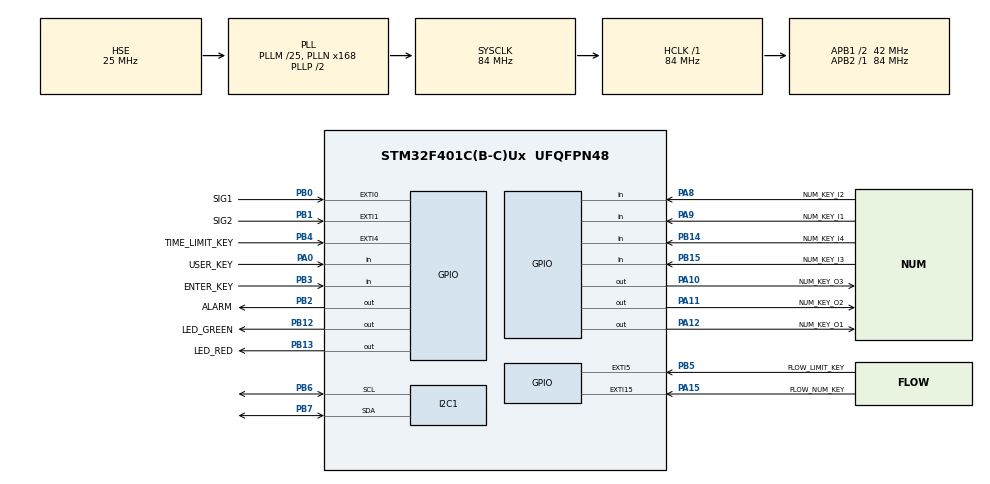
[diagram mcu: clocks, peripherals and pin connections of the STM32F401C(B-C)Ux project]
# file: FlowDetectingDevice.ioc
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I2C1.I2C_Mode=I2C_Fast
Mcu.Family=STM32F4
Mcu.Name=STM32F401C(B-C)Ux
Mcu.Package=UFQFPN48
NVIC.EXTI0_IRQn=true\:15\:0\:true\:false\:true\:true\:true\:true
NVIC.EXTI15_10_IRQn=true\:1\:0\:true\:false\:true\:true\:true\:true
NVIC.EXTI1_IRQn=true\:15\:0\:true\:false\:true\:true\:true\:true
NVIC.EXTI4_IRQn=true\:1\:0\:true\:false\:true\:true\:true\:true
NVIC.EXTI9_5_IRQn=true\:1\:0\:true\:false\:true\:true\:true\:true
NVIC.PriorityGroup=NVIC_PRIORITYGROUP_4
NVIC.TIM2_IRQn=true\:2\:0\:true\:false\:true\:true\:true\:true
PA0-WKUP.GPIO_Label=USER_KEY
PA0-WKUP.GPIO_PuPd=GPIO_PULLUP
PA0-WKUP.Signal=GPIO_Input
PA10.GPIO_Label=NUM_KEY_O3
PA10.GPIO_PuPd=GPIO_PULLUP
PA10.PinState=GPIO_PIN_SET
PA10.Signal=GPIO_Output
PA11.GPIO_Label=NUM_KEY_O2
PA11.GPIO_PuPd=GPIO_PULLUP
PA11.PinState=GPIO_PIN_SET
PA11.Signal=GPIO_Output
PA12.GPIO_Label=NUM_KEY_O1
PA12.GPIO_PuPd=GPIO_PULLUP
PA12.PinState=GPIO_PIN_SET
PA12.Signal=GPIO_Output
PA15.GPIO_Label=FLOW_NUM_KEY
PA15.GPIO_ModeDefaultEXTI=GPIO_MODE_IT_FALLING
PA15.GPIO_PuPd=GPIO_PULLUP
PA15.Signal=GPXTI15
PA8.GPIO_Label=NUM_KEY_I2
PA8.GPIO_PuPd=GPIO_PULLUP
PA8.Signal=GPIO_Input
PA9.GPIO_Label=NUM_KEY_I1
PA9.GPIO_PuPd=GPIO_PULLUP
PA9.Signal=GPIO_Input
PB0.GPIO_Label=SIG1
PB0.GPIO_ModeDefaultEXTI=GPIO_MODE_IT_FALLING
PB0.GPIO_PuPd=GPIO_NOPULL
PB0.Signal=GPXTI0
PB1.GPIO_Label=SIG2
PB1.GPIO_ModeDefaultEXTI=GPIO_MODE_IT_FALLING
PB1.GPIO_PuPd=GPIO_NOPULL
PB1.Signal=GPXTI1
PB12.GPIO_Label=LED_GREEN
PB12.GPIO_ModeDefaultOutputPP=GPIO_MODE_OUTPUT_OD
PB12.GPIO_PuPd=GPIO_PULLUP
PB12.PinState=GPIO_PIN_SET
PB12.Signal=GPIO_Output
PB13.GPIO_Label=LED_RED
PB13.GPIO_ModeDefaultOutputPP=GPIO_MODE_OUTPUT_OD
PB13.GPIO_PuPd=GPIO_PULLUP
PB13.PinState=GPIO_PIN_SET
PB13.Signal=GPIO_Output
PB14.GPIO_Label=NUM_KEY_I4
PB14.GPIO_PuPd=GPIO_PULLUP
PB14.Signal=GPIO_Input
PB15.GPIO_Label=NUM_KEY_I3
PB15.GPIO_PuPd=GPIO_PULLUP
PB15.Signal=GPIO_Input
PB2.GPIO_Label=ALARM
PB2.GPIO_PuPd=GPIO_PULLDOWN
PB2.PinState=GPIO_PIN_RESET
PB2.Signal=GPIO_Output
PB3.GPIO_Label=ENTER_KEY
PB3.GPIO_PuPd=GPIO_PULLUP
PB3.Signal=GPIO_Input
PB4.GPIO_Label=TIME_LIMIT_KEY
PB4.GPIO_ModeDefaultEXTI=GPIO_MODE_IT_FALLING
PB4.GPIO_PuPd=GPIO_PULLUP
PB4.Signal=GPXTI4
PB5.GPIO_Label=FLOW_LIMIT_KEY
PB5.GPIO_ModeDefaultEXTI=GPIO_MODE_IT_FALLING
PB5.GPIO_PuPd=GPIO_PULLUP
PB5.Signal=GPXTI5
PB6.GPIO_Pu=GPIO_PULLUP
PB6.Mode=I2C
PB6.Signal=I2C1_SCL
PB7.GPIO_Pu=GPIO_PULLUP
PB7.Mode=I2C
PB7.Signal=I2C1_SDA
PH0\ -\ OSC_IN.Mode=HSE-External-Oscillator
PH0\ -\ OSC_IN.Signal=RCC_OSC_IN
PH1\ -\ OSC_OUT.Mode=HSE-External-Oscillator
PH1\ -\ OSC_OUT.Signal=RCC_OSC_OUT
ProjectManager.HeapSize=0x200
ProjectManager.StackSize=0x400
ProjectManager.TargetToolchain=STM32CubeIDE
RCC.48MHZClocksFreq_Value=42000000
RCC.AHBFreq_Value=84000000
RCC.APB1CLKDivider=RCC_HCLK_DIV2
RCC.APB1Freq_Value=42000000
RCC.APB1TimFreq_Value=84000000
RCC.APB2Freq_Value=84000000
RCC.APB2TimFreq_Value=84000000
RCC.CortexFreq_Value=84000000
RCC.HCLKFreq_Value=84000000
RCC.HSE_VALUE=25000000
RCC.HSI_VALUE=16000000
RCC.LSE_VALUE=32768
RCC.PLLM=25
RCC.PLLN=168
RCC.PLLSourceVirtual=RCC_PLLSOURCE_HSE
RCC.SYSCLKFreq_VALUE=84000000
RCC.SYSCLKSource=RCC_SYSCLKSOURCE_PLLCLK
RCC.VCOOutputFreq_Value=168000000
TIM2.Period=9999
TIM2.Prescaler=8399
VP_TIM2_VS_ClockSourceINT.Mode=Internal
board=custom

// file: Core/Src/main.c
/* USER CODE BEGIN Header */
/**
  ******************************************************************************
  * @file           : main.c
  * @brief          : Main program body
  ******************************************************************************
  * @attention
  *
  * Copyright (c) 2023 STMicroelectronics.
  * All rights reserved.
  *
  * This software is licensed under terms that can be found in the LICENSE file
  * in the root directory of this software component.
  * If no LICENSE file comes with this software, it is provided AS-IS.
  *
  ******************************************************************************
  */
/* USER CODE END Header */
#include "main.h"
#include "i2c.h"
#include "tim.h"
#include "gpio.h"

/* USER CODE BEGIN Includes */
#include <stdio.h>
#include "oled.h"
#include "menu.h"
#include "detection.h"
/* USER CODE END Includes */

/* USER CODE BEGIN PV */
int flow_num;//flow number
int flow_limit;//flow number limit
int time_limit;//stay time limit
int time_count;//stay time count
uint8_t menu;//menu selection 1-set current flow number 2-set flow number limit 3-set stay time limit
uint8_t detection;//detection trigger 1-first signal 2-second signal
/* USER CODE END PV */

void SystemClock_Config(void);
/* USER CODE BEGIN PFP */
//initialize and show start page
static void main_init(void)
{
	HAL_GPIO_WritePin(LED_GREEN_GPIO_Port, LED_GREEN_Pin, GPIO_PIN_RESET);
	HAL_GPIO_WritePin(LED_RED_GPIO_Port, LED_RED_Pin, GPIO_PIN_RESET);
	oled_init();
	oled_fill();
	HAL_Delay(100);
	oled_clear();
	oled_draw_ASCII(0, 0, " Flow Detecting ", SET, LEFT);
	oled_draw_ASCII(0, 16, " Device ---V2.0 ", SET, LEFT);
	oled_draw_ASCII(0, 32, " By Feng Mingze ", SET, LEFT);
	oled_draw_ASCII(0, 48, " Initializing   ", SET, LEFT);
	HAL_Delay(100);
	oled_draw_ASCII(0, 48, " Initializing.  ", SET, LEFT);
	HAL_Delay(100);
	oled_draw_ASCII(0, 48, " Initializing.. ", SET, LEFT);
	HAL_Delay(100);

	flow_num = 0;
	flow_limit = 10;
	time_limit = 3;
	time_count = 0;
	menu = 0;
	detection = 0;

	oled_fill();
	HAL_Delay(100);
	oled_clear();
	HAL_GPIO_WritePin(LED_RED_GPIO_Port, LED_RED_Pin, GPIO_PIN_SET);
	main_show();
}

//show main page
void main_show(void)
{
	oled_clear();

	static char flow_num_char[8];
	sprintf(flow_num_char, "%d", flow_num);
	oled_draw_ASCII(0, 0, "Flow Number:", SET, LEFT);
	oled_draw_ASCII(120, 16, flow_num_char, SET, RIGHT);

	static char flow_limit_char[8];
	sprintf(flow_limit_char, "%d", flow_limit);
	oled_draw_ASCII(0, 32, "MaxFlow:", SET, LEFT);
	oled_draw_ASCII(120, 32, flow_limit_char, SET, RIGHT);

	static char time_limit_char[8];
	sprintf(time_limit_char, "%d", time_limit);
	oled_draw_ASCII(0, 48, "MaxTime:", SET, LEFT);
	oled_draw_ASCII(120, 48, time_limit_char, SET, RIGHT);
}
/* USER CODE END PFP */

int main(void)
{

  /* MCU Configuration--------------------------------------------------------*/

  /* Reset of all peripherals, Initializes the Flash interface and the Systick. */
  HAL_Init();

  /* Configure the system clock */
  SystemClock_Config();

  /* Initialize all configured peripherals */
  MX_GPIO_Init();
  MX_I2C1_Init();
  MX_TIM2_Init();
  /* USER CODE BEGIN 2 */
  main_init();
  /* USER CODE END 2 */

  /* Infinite loop */
  /* USER CODE BEGIN WHILE */
  while (1)
  {
	menu_check_selection();
	detection_check_trigger();

	if (flow_num > flow_limit)
	{
		HAL_GPIO_WritePin(LED_GREEN_GPIO_Port, LED_GREEN_Pin, GPIO_PIN_SET);
		HAL_GPIO_WritePin(LED_RED_GPIO_Port, LED_RED_Pin, GPIO_PIN_RESET);
		HAL_GPIO_WritePin(ALARM_GPIO_Port, ALARM_Pin, GPIO_PIN_SET);
		HAL_Delay(100);
		HAL_GPIO_WritePin(LED_RED_GPIO_Port, LED_RED_Pin, GPIO_PIN_SET);
		HAL_GPIO_WritePin(ALARM_GPIO_Port, ALARM_Pin, GPIO_PIN_RESET);
		HAL_Delay(100);
	}
	else if(flow_num < 0)
	{
		HAL_GPIO_WritePin(LED_GREEN_GPIO_Port, LED_GREEN_Pin, GPIO_PIN_SET);
		HAL_GPIO_WritePin(LED_RED_GPIO_Port, LED_RED_Pin, GPIO_PIN_RESET);
		HAL_GPIO_WritePin(ALARM_GPIO_Port, ALARM_Pin, GPIO_PIN_SET);
		HAL_Delay(100);
		HAL_GPIO_WritePin(LED_RED_GPIO_Port, LED_RED_Pin, GPIO_PIN_SET);
		HAL_GPIO_WritePin(ALARM_GPIO_Port, ALARM_Pin, GPIO_PIN_RESET);
		HAL_Delay(100);

	}
	else
	{
		HAL_GPIO_WritePin(LED_GREEN_GPIO_Port, LED_GREEN_Pin, GPIO_PIN_RESET);
		HAL_GPIO_WritePin(LED_RED_GPIO_Port, LED_RED_Pin, GPIO_PIN_SET);
		HAL_GPIO_WritePin(ALARM_GPIO_Port, ALARM_Pin, GPIO_PIN_RESET);
		HAL_Delay(200);
	}
    /* USER CODE END WHILE */

  }
}

void SystemClock_Config(void)
{
  RCC_OscInitTypeDef RCC_OscInitStruct = {0};
  RCC_ClkInitTypeDef RCC_ClkInitStruct = {0};

  /** Configure the main internal regulator output voltage
  */
  __HAL_RCC_PWR_CLK_ENABLE();
  __HAL_PWR_VOLTAGESCALING_CONFIG(PWR_REGULATOR_VOLTAGE_SCALE2);

  /** Initializes the RCC Oscillators according to the specified parameters
  * in the RCC_OscInitTypeDef structure.
  */
  RCC_OscInitStruct.OscillatorType = RCC_OSCILLATORTYPE_HSE;
  RCC_OscInitStruct.HSEState = RCC_HSE_ON;
  RCC_OscInitStruct.PLL.PLLState = RCC_PLL_ON;
  RCC_OscInitStruct.PLL.PLLSource = RCC_PLLSOURCE_HSE;
  RCC_OscInitStruct.PLL.PLLM = 25;
  RCC_OscInitStruct.PLL.PLLN = 168;
  RCC_OscInitStruct.PLL.PLLP = RCC_PLLP_DIV2;
  RCC_OscInitStruct.PLL.PLLQ = 4;
  if (HAL_RCC_OscConfig(&RCC_OscInitStruct) != HAL_OK)
  {
    Error_Handler();
  }

  /** Initializes the CPU, AHB and APB buses clocks
  */
  RCC_ClkInitStruct.ClockType = RCC_CLOCKTYPE_HCLK|RCC_CLOCKTYPE_SYSCLK
                              |RCC_CLOCKTYPE_PCLK1|RCC_CLOCKTYPE_PCLK2;
  RCC_ClkInitStruct.SYSCLKSource = RCC_SYSCLKSOURCE_PLLCLK;
  RCC_ClkInitStruct.AHBCLKDivider = RCC_SYSCLK_DIV1;
  RCC_ClkInitStruct.APB1CLKDivider = RCC_HCLK_DIV2;
  RCC_ClkInitStruct.APB2CLKDivider = RCC_HCLK_DIV1;

  if (HAL_RCC_ClockConfig(&RCC_ClkInitStruct, FLASH_LATENCY_2) != HAL_OK)
  {
    Error_Handler();
  }
}

void Error_Handler(void)
{
  __disable_irq();
  while (1)
  {
  }
}
